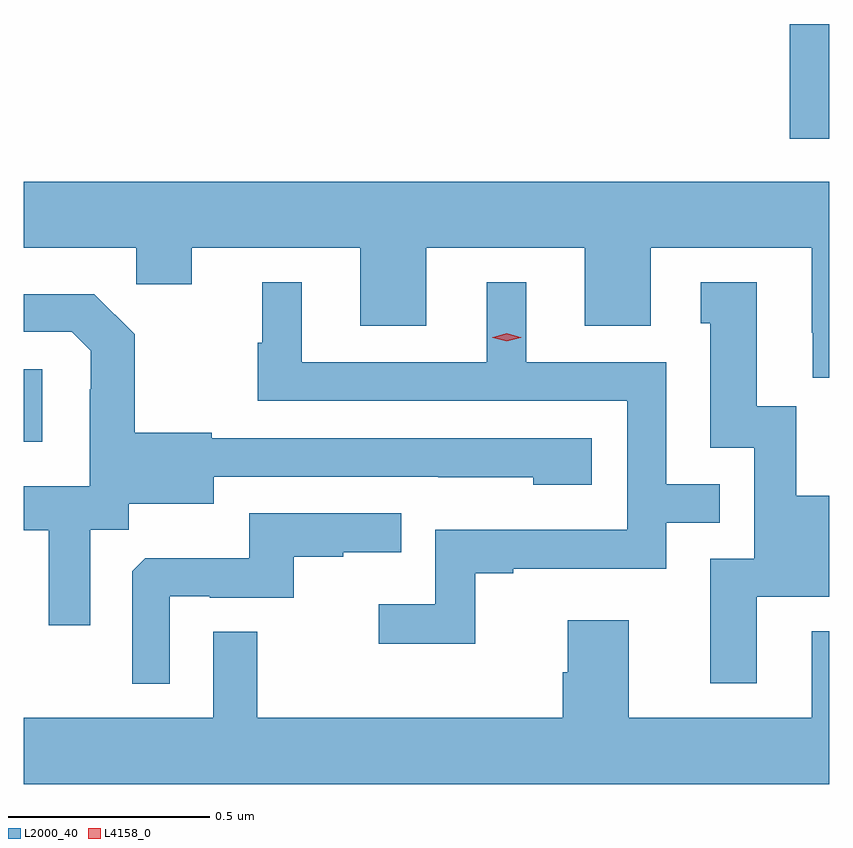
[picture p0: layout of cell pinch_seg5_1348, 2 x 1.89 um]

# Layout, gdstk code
import gdstk
lib = gdstk.Library(unit=1e-6, precision=1e-09)
def R(c, l, rs):  # rectangles x0, y0, x1, y1
    for r in rs: c.add(gdstk.rectangle(r[:2], r[2:], *l))
def P(c, l, *ps):  # polygons
    for p in ps: c.add(gdstk.Polygon(p, *l))
L2000_40 = (2000, 40)
L4158_0 = (4158, 0)

pinch_seg5_1348 = lib.new_cell('pinch_seg5_1348')
R(pinch_seg5_1348, L2000_40, [(621.916,868.266,621.961,868.446), (623.819,869.019,623.916,869.304)])
P(pinch_seg5_1348, L2000_40, [(623.916,868.912),(621.916,868.912),(621.916,868.748),(622.195,868.748),(622.195,868.658),(622.333,868.658),(622.333,868.748),(622.751,868.748),(622.751,868.554),(622.915,868.554),(622.915,868.748),(623.309,868.748),(623.309,868.554),(623.473,868.554),(623.473,868.748),(623.873,868.748),(623.873,868.537),(623.876,868.537),(623.876,868.425),(623.916,868.425)],
  [(623.737,867.881),(623.916,867.881),(623.916,868.132),(623.835,868.132),(623.835,868.355),(623.737,868.355),(623.737,868.663),(623.597,868.663),(623.597,868.56),(623.621,868.56),(623.621,868.251),(623.73,868.251),(623.73,867.975),(623.621,867.975),(623.621,867.666),(623.737,867.666)],
  [(623.037,867.939),(623.131,867.939),(623.131,867.951),(623.511,867.951),(623.511,868.065),(623.645,868.065),(623.645,868.161),(623.511,868.161),(623.511,868.464),(623.164,868.464),(623.164,868.663),(623.066,868.663),(623.066,868.464),(622.606,868.464),(622.606,868.663),(622.508,868.663),(622.508,868.512),(622.497,868.512),(622.497,868.368),(623.415,868.368),(623.415,868.047),(622.938,868.047),(622.938,867.862),(622.797,867.862),(622.797,867.764),(623.037,867.764)],
  [(622.081,868.048),(622.176,868.048),(622.176,868.112),(622.387,868.112),(622.387,868.179),(622.945,868.179),(622.945,868.178),(623.181,868.178),(623.181,868.16),(623.326,868.16),(623.326,868.275),(622.383,868.275),(622.383,868.288),(622.191,868.288),(622.191,868.533),(622.091,868.633),(621.916,868.633),(621.916,868.539),(622.035,868.539),(622.082,868.492),(622.082,868.397),(622.08,868.397),(622.08,868.156),(621.916,868.156),(621.916,868.046),(621.977,868.046),(621.977,867.81),(622.081,867.81)],
  [(622.278,867.882),(622.378,867.882),(622.378,867.879),(622.586,867.879),(622.586,867.981),(622.709,867.981),(622.709,867.992),(622.853,867.992),(622.853,868.089),(622.476,868.089),(622.476,867.977),(622.217,867.977),(622.185,867.945),(622.185,867.665),(622.278,867.665)],
  [(623.916,867.796),(623.873,867.796),(623.873,867.58),(623.419,867.58),(623.419,867.823),(623.267,867.823),(623.267,867.693),(623.255,867.693),(623.255,867.58),(622.495,867.58),(622.495,867.794),(622.386,867.794),(622.386,867.58),(621.916,867.58),(621.916,867.416),(623.916,867.416)])
P(pinch_seg5_1348, L4158_0, [(623.115,868.516),(623.08,868.525),(623.079,868.526),(623.08,868.526),(623.115,868.536),(623.15,868.526),(623.151,868.526),(623.15,868.525)])

lib.write_gds('pinch_seg5_1348.gds')
